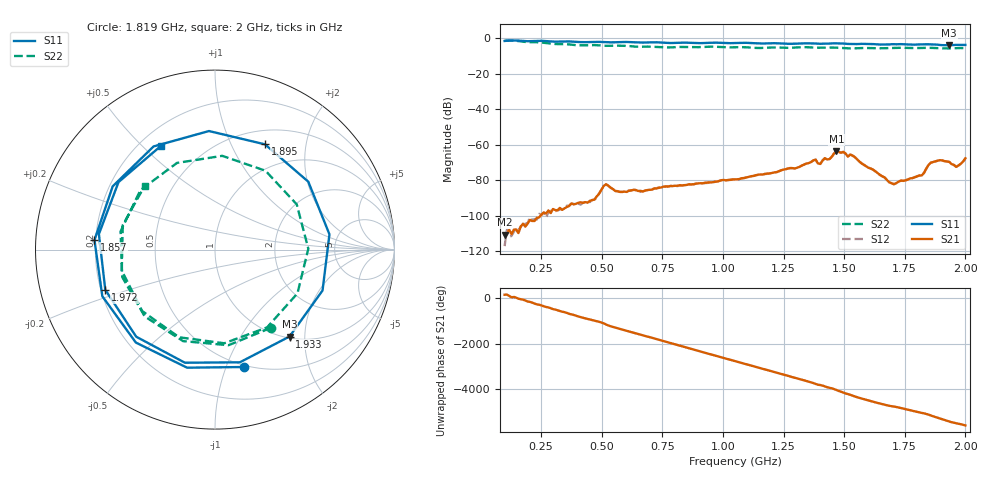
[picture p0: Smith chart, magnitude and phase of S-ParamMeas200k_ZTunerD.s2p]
!Keysight Technologies,N5242B,MY48420967,A.15.65.19
!Date: Monday, December 19, 2022 14:07:00
!Correction: S11(C  2-Port  )
!S21(C  2-Port  )
!S12(C  2-Port  )
!S22(C  2-Port  )
!S2P File: Measurements: S11, S21, S12, S22:
# Hz S  dB  R 50
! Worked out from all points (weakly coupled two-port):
!   201 points, 100 MHz to 2 GHz, reference 50 ohm
!   highest |S21| = -63.71 dB at 1.468 GHz (marker M1); lowest = -110.7 dB at 100 MHz (marker M2)
!   lowest |S11| = -3.9 dB at 1.933 GHz (marker M3), VSWR 4.52, Z = 51.4 - j84 ohm
!   |S11| at or under -10 dB: nowhere
!   |S22| runs from -5.7 to -1.3 dB; largest |S21 - S12| = 4.6e-06
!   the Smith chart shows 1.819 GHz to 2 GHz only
!   S11 on the Smith chart (normalised r, x): 1.819 GHz: 0.48, -1.16; 1.857 GHz: 0.20, +0.04; 1.895 GHz: 0.67, +1.36; 1.933 GHz: 1.03, -1.68; 1.972 GHz: 0.22, -0.17; 2 GHz: 0.28, +0.57
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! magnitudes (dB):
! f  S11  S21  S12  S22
! 100 MHz  -1.5  -110.7  -117.2  -1.3
! 423 MHz  -2.2  -92.8  -92.7  -3.9
! 736.5 MHz  -2.3  -84.2  -84.1  -4.9
! 1.05 GHz  -2.6  -79.5  -79.5  -5.0
! 1.297 GHz  -3.0  -73.4  -73.3  -5.2
! 1.373 GHz  -2.9  -68.8  -68.8  -5.2
! 1.401 GHz  -3.1  -70.8  -70.8  -5.3
! 1.421 GHz  -3.0  -67.5  -67.6  -5.3
! 1.44 GHz  -3.0  -68.1  -68.1  -5.2
! 1.468 GHz  -2.9  -63.7  -63.7  -5.3
! 1.496 GHz  -2.9  -64.0  -64.0  -5.5
! 1.516 GHz  -3.1  -66.7  -66.7  -5.6
! 1.534 GHz  -3.2  -66.1  -66.1  -5.7
! 1.687 GHz  -3.4  -81.2  -81.1  -5.5
! 1.753 GHz  -3.4  -80.1  -79.9  -5.4
! 1.819 GHz  -3.4  -77.3  -77.2  -5.4
! 1.857 GHz  -3.4  -70.1  -70.0  -5.4
! 1.895 GHz  -3.8  -68.7  -68.7  -5.6
! 1.933 GHz  -3.9  -69.7  -69.7  -5.7
! 1.962 GHz  -3.7  -72.4  -72.4  -5.6
! 1.972 GHz  -3.7  -71.7  -71.6  -5.5
! 2 GHz  -3.7  -67.6  -67.6  -5.5
